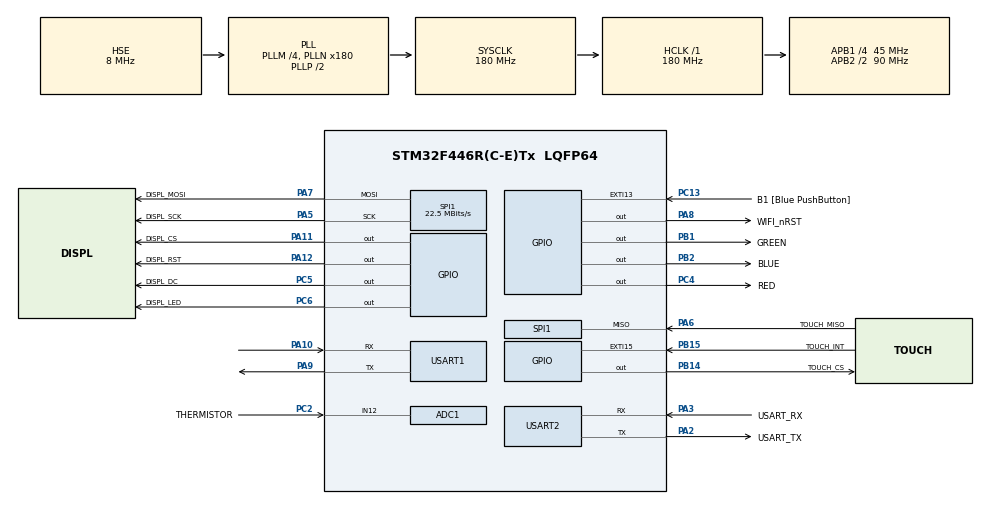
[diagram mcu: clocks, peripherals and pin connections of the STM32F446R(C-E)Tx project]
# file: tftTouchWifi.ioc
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ADC1.Channel-0\#ChannelRegularConversion=ADC_CHANNEL_12
ADC1.NbrOfConversionFlag=1
ADC1.Rank-0\#ChannelRegularConversion=1
ADC1.SamplingTime-0\#ChannelRegularConversion=ADC_SAMPLETIME_84CYCLES
ADC1.master=1
Dma.Request0=SPI1_TX
Dma.Request1=USART1_RX
Dma.Request2=USART1_TX
Dma.SPI1_TX.0.Direction=DMA_MEMORY_TO_PERIPH
Dma.SPI1_TX.0.FIFOMode=DMA_FIFOMODE_DISABLE
Dma.SPI1_TX.0.Instance=DMA2_Stream3
Dma.SPI1_TX.0.MemDataAlignment=DMA_MDATAALIGN_BYTE
Dma.SPI1_TX.0.MemInc=DMA_MINC_ENABLE
Dma.SPI1_TX.0.Mode=DMA_NORMAL
Dma.SPI1_TX.0.PeriphDataAlignment=DMA_PDATAALIGN_BYTE
Dma.SPI1_TX.0.PeriphInc=DMA_PINC_DISABLE
Dma.SPI1_TX.0.Priority=DMA_PRIORITY_LOW
Dma.USART1_RX.1.Direction=DMA_PERIPH_TO_MEMORY
Dma.USART1_RX.1.FIFOMode=DMA_FIFOMODE_DISABLE
Dma.USART1_RX.1.Instance=DMA2_Stream2
Dma.USART1_RX.1.MemDataAlignment=DMA_MDATAALIGN_BYTE
Dma.USART1_RX.1.MemInc=DMA_MINC_ENABLE
Dma.USART1_RX.1.Mode=DMA_NORMAL
Dma.USART1_RX.1.PeriphDataAlignment=DMA_PDATAALIGN_BYTE
Dma.USART1_RX.1.PeriphInc=DMA_PINC_DISABLE
Dma.USART1_RX.1.Priority=DMA_PRIORITY_LOW
Dma.USART1_TX.2.Direction=DMA_MEMORY_TO_PERIPH
Dma.USART1_TX.2.FIFOMode=DMA_FIFOMODE_DISABLE
Dma.USART1_TX.2.Instance=DMA2_Stream7
Dma.USART1_TX.2.MemDataAlignment=DMA_MDATAALIGN_BYTE
Dma.USART1_TX.2.MemInc=DMA_MINC_ENABLE
Dma.USART1_TX.2.Mode=DMA_NORMAL
Dma.USART1_TX.2.PeriphDataAlignment=DMA_PDATAALIGN_BYTE
Dma.USART1_TX.2.PeriphInc=DMA_PINC_DISABLE
Dma.USART1_TX.2.Priority=DMA_PRIORITY_LOW
Mcu.Family=STM32F4
Mcu.Name=STM32F446R(C-E)Tx
Mcu.Package=LQFP64
NVIC.DMA2_Stream2_IRQn=true\:0\:0\:false\:false\:true\:false\:true\:true
NVIC.DMA2_Stream3_IRQn=true\:0\:0\:false\:false\:true\:false\:true\:true
NVIC.DMA2_Stream7_IRQn=true\:0\:0\:false\:false\:true\:false\:true\:true
NVIC.EXTI15_10_IRQn=true\:0\:0\:false\:false\:true\:true\:true\:true
NVIC.PriorityGroup=NVIC_PRIORITYGROUP_0
NVIC.SPI1_IRQn=true\:0\:0\:false\:false\:true\:true\:true\:true
NVIC.TIM5_IRQn=true\:0\:0\:false\:false\:true\:true\:true\:true
NVIC.USART1_IRQn=true\:0\:0\:true\:false\:true\:true\:true\:true
NVIC.USART2_IRQn=true\:0\:0\:false\:false\:true\:true\:true\:true
NimaLTD.I-CUBE-ATC.4.2.2.ATC_DEBUG=ATC_DEBUG_ENABLE
NimaLTD.I-CUBE-ATC.4.2.2.DriverJjATC=true
PA10.Mode=Asynchronous
PA10.Signal=USART1_RX
PA11.GPIO_Label=DISPL_CS
PA11.PinState=GPIO_PIN_SET
PA11.Signal=GPIO_Output
PA12.GPIO_Label=DISPL_RST
PA12.Signal=GPIO_Output
PA13.GPIO_Label=TMS
PA13.Mode=Trace_Asynchronous_SW
PA13.Signal=SYS_JTMS-SWDIO
PA14.GPIO_Label=TCK
PA14.Mode=Trace_Asynchronous_SW
PA14.Signal=SYS_JTCK-SWCLK
PA2.GPIO_Label=USART_TX
PA2.Mode=Asynchronous
PA2.Signal=USART2_TX
PA3.GPIO_Label=USART_RX
PA3.Mode=Asynchronous
PA3.Signal=USART2_RX
PA5.GPIO_Label=DISPL_SCK
PA5.Mode=Full_Duplex_Master
PA5.Signal=SPI1_SCK
PA6.GPIO_Label=TOUCH_MISO
PA6.Mode=Full_Duplex_Master
PA6.Signal=SPI1_MISO
PA7.GPIO_Label=DISPL_MOSI
PA7.Mode=Full_Duplex_Master
PA7.Signal=SPI1_MOSI
PA8.GPIO_Label=WIFI_nRST
PA8.Signal=GPIO_Output
PA9.Mode=Asynchronous
PA9.Signal=USART1_TX
PB1.GPIO_Label=GREEN
PB1.Signal=GPIO_Output
PB14.GPIO_Label=TOUCH_CS
PB14.PinState=GPIO_PIN_SET
PB14.Signal=GPIO_Output
PB15.GPIO_Label=TOUCH_INT
PB15.GPIO_ModeDefaultEXTI=GPIO_MODE_IT_FALLING
PB15.GPIO_PuPd=GPIO_PULLUP
PB15.Signal=GPXTI15
PB2.GPIO_Label=BLUE
PB2.Signal=GPIO_Output
PB3.Mode=Trace_Asynchronous_SW
PB3.Signal=SYS_JTDO-SWO
PC13.GPIO_Label=B1 [Blue PushButton]
PC13.GPIO_ModeDefaultEXTI=GPIO_MODE_IT_FALLING
PC13.Signal=GPXTI13
PC14-OSC32_IN.Mode=LSE-External-Oscillator
PC14-OSC32_IN.Signal=RCC_OSC32_IN
PC15-OSC32_OUT.Mode=LSE-External-Oscillator
PC15-OSC32_OUT.Signal=RCC_OSC32_OUT
PC2.GPIO_Label=THERMISTOR
PC2.Signal=ADCx_IN12
PC4.GPIO_Label=RED
PC4.Signal=GPIO_Output
PC5.GPIO_Label=DISPL_DC
PC5.PinState=GPIO_PIN_SET
PC5.Signal=GPIO_Output
PC6.GPIO_Label=DISPL_LED
PC6.Signal=GPIO_Output
PH0-OSC_IN.Mode=HSE-External-Oscillator
PH0-OSC_IN.Signal=RCC_OSC_IN
PH1-OSC_OUT.Mode=HSE-External-Oscillator
PH1-OSC_OUT.Signal=RCC_OSC_OUT
ProjectManager.HeapSize=0x200
ProjectManager.StackSize=0x400
ProjectManager.TargetToolchain=STM32CubeIDE
RCC.48MHZClocksFreq_Value=84000000
RCC.AHBFreq_Value=180000000
RCC.APB1CLKDivider=RCC_HCLK_DIV4
RCC.APB1Freq_Value=45000000
RCC.APB1TimFreq_Value=90000000
RCC.APB2CLKDivider=RCC_HCLK_DIV2
RCC.APB2Freq_Value=90000000
RCC.APB2TimFreq_Value=180000000
RCC.CortexFreq_Value=180000000
RCC.FLatency-AdvancedSettings=FLASH_LATENCY_5
RCC.HCLKFreq_Value=180000000
RCC.HSE_VALUE=8000000
RCC.HSI_VALUE=16000000
RCC.PLLM=4
RCC.PLLN=180
RCC.PLLSourceVirtual=RCC_PLLSOURCE_HSE
RCC.SYSCLKFreq_VALUE=180000000
RCC.SYSCLKSource=RCC_SYSCLKSOURCE_PLLCLK
RCC.USBFreq_Value=180000000
RCC.VCOOutputFreq_Value=360000000
SH.ADCx_IN12.0=ADC1_IN12,IN12
SPI1.BaudRatePrescaler=SPI_BAUDRATEPRESCALER_4
SPI1.CalculateBaudRate=22.5 MBits/s
SPI1.Direction=SPI_DIRECTION_2LINES
SPI1.Mode=SPI_MODE_MASTER
SPI1.VirtualType=VM_MASTER
STMicroelectronics.X-CUBE-TOUCHGFX.4.22.0.ApplicationCcGraphicsJjApplication=TouchGFXOoGenerator
STMicroelectronics.X-CUBE-TOUCHGFX.4.22.0.tgfx_buffering_strategy=Partial
STMicroelectronics.X-CUBE-TOUCHGFX.4.22.0.tgfx_custom_height=240
STMicroelectronics.X-CUBE-TOUCHGFX.4.22.0.tgfx_custom_width=320
STMicroelectronics.X-CUBE-TOUCHGFX.4.22.0_IsPackSelfContextualization=true
TIM5.Period=180000-1
TIM5.Prescaler=30000-1
USART1.VirtualMode=VM_ASYNC
USART2.VirtualMode=VM_ASYNC
VP_CRC_VS_CRC.Mode=CRC_Activate
VP_NimaLTD.I-CUBE-ATC_VS_DriverJjATC_1.0.0_4.2.2.Mode=DriverJjATC
VP_STMicroelectronics.X-CUBE-TOUCHGFX_VS_GraphicsJjApplication_4.22.0.Mode=GraphicsJjApplication
VP_TIM5_VS_ClockSourceINT.Mode=Internal
board=NUCLEO-F446RE

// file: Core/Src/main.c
/* USER CODE BEGIN Header */
/**
 ******************************************************************************
 * @file           : main.c
 * @brief          : Main program body
 ******************************************************************************
 * @attention
 *
 * Copyright (c) 2023 STMicroelectronics.
 * All rights reserved.
 *
 * This software is licensed under terms that can be found in the LICENSE file
 * in the root directory of this software component.
 * If no LICENSE file comes with this software, it is provided AS-IS.
 *
 ******************************************************************************
 Display temperature from a thermistor on an ILI9341 TFT using TouchGFX.
 Send the Temperature every 60 Seconds to Thingspeak with a send count.
 Send to MQTT broker. Subscribe to MQTT esp32c3/led
 Mel Dundas
 Feb 03, 2025
 */
/* USER CODE END Header */
#include "main.h"
#include "adc.h"
#include "crc.h"
#include "dma.h"
#include "spi.h"
#include "tim.h"
#include "usart.h"
#include "gpio.h"
#include "app_touchgfx.h"

/* USER CODE BEGIN Includes */
#include <stdbool.h>
#include <stdio.h>
#include "thermistor.h"

#include "atc.h"
#include "espat.h"
/* USER CODE END Includes */

/* USER CODE BEGIN PV */
ATC_HandleTypeDef espat;

bool buttonPressed = false; //blue button
uint16_t thermValue[16] = {0};
uint32_t thermAvg;
float thermTemp = 0.0;
uint32_t loopCount=0;
uint8_t localIP[20] = {"127.0.0.1"};
bool connected = false;
uint32_t count = 0;
bool sendNextTX=false; //send next tx
bool validAvgTemp=false;
//event callback structure
void mqttRX();

const ATC_EventTypeDef events[] = { { "+MQTTSUBRECV:0", mqttRX } };
/* USER CODE END PV */

void SystemClock_Config(void);
/* USER CODE BEGIN PFP */
void leds(char opt);

/* USER CODE END PFP */

/* USER CODE BEGIN 0 */
void mqttRX()
{

	printf("sub event: %s\r\n",espat.pRxBuff);
}
/* USER CODE END 0 */

int main(void)
{

  /* USER CODE BEGIN 1 */
 uint16_t thermIndex = 0;
  /* USER CODE END 1 */

  /* MCU Configuration--------------------------------------------------------*/

  /* Reset of all peripherals, Initializes the Flash interface and the Systick. */
  HAL_Init();

  /* Configure the system clock */
  SystemClock_Config();

  /* Initialize all configured peripherals */
  MX_GPIO_Init();
  MX_DMA_Init();
  MX_USART2_UART_Init();
  MX_CRC_Init();
  MX_SPI1_Init();
  MX_ADC1_Init();
  MX_USART1_UART_Init();
  MX_TIM5_Init();
  MX_TouchGFX_Init();
  /* USER CODE BEGIN 2 */
  HAL_TIM_Base_Start_IT(&htim5);

  ATC_Init(&espat, &huart1, 512, "ESPAT"); //init espAT WiFi
  ATC_SetEvents(&espat, events); 	//set esp callbacks

  Displ_Init(Displ_Orientat_90);	// (mandatory) initialize display controller - set orientation parameter as per TouchGFX setup
  touchgfxSignalVSync();			// ask display syncronization
  Displ_BackLight('I');  			// (mandatory) initialize backlight

  Displ_BackLight('1');

  subscribeToMQTT();
  /* USER CODE END 2 */

  /* Infinite loop */
  /* USER CODE BEGIN WHILE */
	while (1) {
		ATC_Loop(&espat);

		buttonPressed = !HAL_GPIO_ReadPin(B1_GPIO_Port, B1_Pin);

		HAL_ADC_Start(&hadc1);
		HAL_ADC_PollForConversion(&hadc1, 10);
		thermValue[thermIndex] = HAL_ADC_GetValue(&hadc1);

		thermIndex++;

		if(thermIndex==16)
			validAvgTemp=true;

		thermIndex%=16;

		thermAvg=0;
		for(int i=0; i<16; i++)
		{
			thermAvg += thermValue[i];
		}
		thermAvg/=16;

		thermTemp = convertAnalogToTemperature(thermAvg);

		touchgfxSignalVSync();					// ask display synchronization

		if(sendNextTX && validAvgTemp)//time to send next tx update and thermistorAvgdtat valid
		{

			if (sendToThingspeak()) { //retry until successful

				sendToMQTT();

				sendNextTX=false; //don't tx again until next tx time
			}

			count++;
			count%=60;	//ramp graph on thingspeak

		}

    /* USER CODE END WHILE */

  MX_TouchGFX_Process();
	}
}

void SystemClock_Config(void)
{
  RCC_OscInitTypeDef RCC_OscInitStruct = {0};
  RCC_ClkInitTypeDef RCC_ClkInitStruct = {0};

  /** Configure the main internal regulator output voltage
  */
  __HAL_RCC_PWR_CLK_ENABLE();
  __HAL_PWR_VOLTAGESCALING_CONFIG(PWR_REGULATOR_VOLTAGE_SCALE1);

  /** Initializes the RCC Oscillators according to the specified parameters
  * in the RCC_OscInitTypeDef structure.
  */
  RCC_OscInitStruct.OscillatorType = RCC_OSCILLATORTYPE_HSE;
  RCC_OscInitStruct.HSEState = RCC_HSE_ON;
  RCC_OscInitStruct.PLL.PLLState = RCC_PLL_ON;
  RCC_OscInitStruct.PLL.PLLSource = RCC_PLLSOURCE_HSE;
  RCC_OscInitStruct.PLL.PLLM = 4;
  RCC_OscInitStruct.PLL.PLLN = 180;
  RCC_OscInitStruct.PLL.PLLP = RCC_PLLP_DIV2;
  RCC_OscInitStruct.PLL.PLLQ = 2;
  RCC_OscInitStruct.PLL.PLLR = 2;
  if (HAL_RCC_OscConfig(&RCC_OscInitStruct) != HAL_OK)
  {
    Error_Handler();
  }

  /** Activate the Over-Drive mode
  */
  if (HAL_PWREx_EnableOverDrive() != HAL_OK)
  {
    Error_Handler();
  }

  /** Initializes the CPU, AHB and APB buses clocks
  */
  RCC_ClkInitStruct.ClockType = RCC_CLOCKTYPE_HCLK|RCC_CLOCKTYPE_SYSCLK
                              |RCC_CLOCKTYPE_PCLK1|RCC_CLOCKTYPE_PCLK2;
  RCC_ClkInitStruct.SYSCLKSource = RCC_SYSCLKSOURCE_PLLCLK;
  RCC_ClkInitStruct.AHBCLKDivider = RCC_SYSCLK_DIV1;
  RCC_ClkInitStruct.APB1CLKDivider = RCC_HCLK_DIV4;
  RCC_ClkInitStruct.APB2CLKDivider = RCC_HCLK_DIV2;

  if (HAL_RCC_ClockConfig(&RCC_ClkInitStruct, FLASH_LATENCY_5) != HAL_OK)
  {
    Error_Handler();
  }
}

/* USER CODE BEGIN 4 */
void leds(char opt) {
	switch (opt) {
	case 'R':
		HAL_GPIO_TogglePin(RED_GPIO_Port, RED_Pin);
		break;

	case 'G':
		HAL_GPIO_TogglePin(GREEN_GPIO_Port, GREEN_Pin);
		break;

	case 'B':
		HAL_GPIO_TogglePin(BLUE_GPIO_Port, BLUE_Pin);
		break;

	}
}

void joinAP(char selection)
{

	switch (selection) {
	case 'P':
//		newAP = &piper;
		break;

	case 'B':
//		newAP = &bakery217;
		break;

	case 'I':
//		newAP = &iotsecurity;
		break;

	}

}

int __io_putchar(int ch)
{
	ITM_SendChar(ch);
	return 0;
}

//timer 5 callback for 1 minute intervals
void HAL_TIM_PeriodElapsedCallback(TIM_HandleTypeDef *htim)
{
	sendNextTX=true;
}
/* USER CODE END 4 */

void Error_Handler(void)
{
	__disable_irq();
	while (1) {
	}
}
